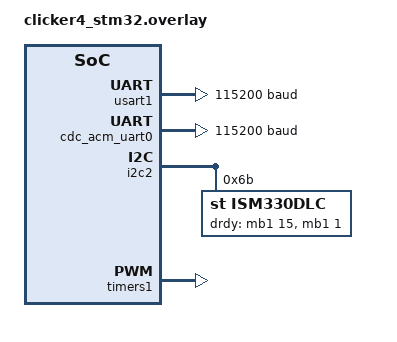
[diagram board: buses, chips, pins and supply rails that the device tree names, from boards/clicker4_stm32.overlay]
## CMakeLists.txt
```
# SPDX-License-Identifier: Apache-2.0

cmake_minimum_required(VERSION 3.20.0)
find_package(Zephyr REQUIRED HINTS $ENV{ZEPHYR_BASE})
project(pwm_reader)

target_sources(app PRIVATE src/main.c)
```

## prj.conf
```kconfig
CONFIG_STDOUT_CONSOLE=y
CONFIG_PRINTK=y
CONFIG_PWM=y
CONFIG_PWM_CAPTURE=y
CONFIG_PINCTRL=y
```

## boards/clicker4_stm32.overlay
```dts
#include <zephyr/dt-bindings/pwm/pwm.h>

&usart1 {
    current-speed = <115200>;
};

&cdc_acm_uart0 {
    current-speed = <115200>;
};

&i2c2 {
    status = "okay";
    ism330dlc: ism330dlc@6b {
        status = "okay";
        compatible = "st,ism330dlc";
        drdy-gpios = <&mb1 15 GPIO_ACTIVE_HIGH>, 
                     <&mb1  1 GPIO_ACTIVE_HIGH>;
        accel-odr   = <6>;
        gyro-odr    = <6>;
        accel-range = <2>;
        gyro-range  = <125>;
        reg = <0x6b>;
    };
};

/ {
    chosen {
        zephyr,console = &usart1;
        zephyr,shell-uart = &usart1;
    };

};
&pinctrl {
    tim1_ch2_in_pe11: tim1_ch2_in_pe11 { pinmux = <STM32_PINMUX('E', 11, AF1)>; };
};

&timers1 {
    status = "okay";
    st,prescaler = <107>;
    pwm_in: pwm_in {
        compatible = "st,stm32-pwm";
        status = "okay";
        #pwm-cells = <3>;
        pinctrl-0 = <&tim1_ch2_in_pe11>;
        pinctrl-names = "default";
    };
};
```

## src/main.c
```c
/*
 * Single-channel PWM capture demo — Zephyr 4.x API
 * Capture pin: PE11 (TIM1_CH2)
 */

#include <zephyr/device.h>
#include <zephyr/drivers/pwm.h>
#include <zephyr/kernel.h>
#include <zephyr/sys/printk.h>

#define PWM_NODE DT_NODELABEL(pwm_in)
static const struct device *const pwm_dev = DEVICE_DT_GET(PWM_NODE);
#define PWM_CHANNEL 2 // TIM1_CH2 (PE11)

static void cb(const struct device *dev, uint32_t chan,
               uint32_t per_cyc, uint32_t pul_cyc,
               int status, void *ud) {
    static uint32_t last_duty = 0;

    if (status) {
        printk("capture error %d\n", status);
        return;
    }

    uint64_t period, pulse;
    pwm_cycles_to_usec(dev, chan, per_cyc, &period);
    pwm_cycles_to_usec(dev, chan, pul_cyc, &pulse);
    uint32_t duty = (period) ? (pulse * 1000) / period : 0;

    // Only print if duty is in expected range and changed
    if (duty != last_duty && duty >= 100 && duty <= 200) {
        last_duty = duty;
        printf("duty = %u/1000\n", duty);
    }
}

int main(void) {
    printk("TIM1 CH2 PWM capture example — input on PE11\n");

    if (!device_is_ready(pwm_dev)) {
        printk("device not ready\n");
        return 0;
    }

    int ret = pwm_configure_capture(pwm_dev, PWM_CHANNEL,
                                    PWM_CAPTURE_TYPE_BOTH | PWM_CAPTURE_MODE_CONTINUOUS,
                                    cb, NULL);
    if (ret) {
        printk("config failed (%d)\n", ret);
        return 0;
    }

    ret = pwm_enable_capture(pwm_dev, PWM_CHANNEL);
    if (ret) {
        printk("enable failed (%d)\n", ret);
        return 0;
    }

    while (1) {
        k_sleep(K_FOREVER); // Nothing to do, all work is in the callback
    }
}
```
